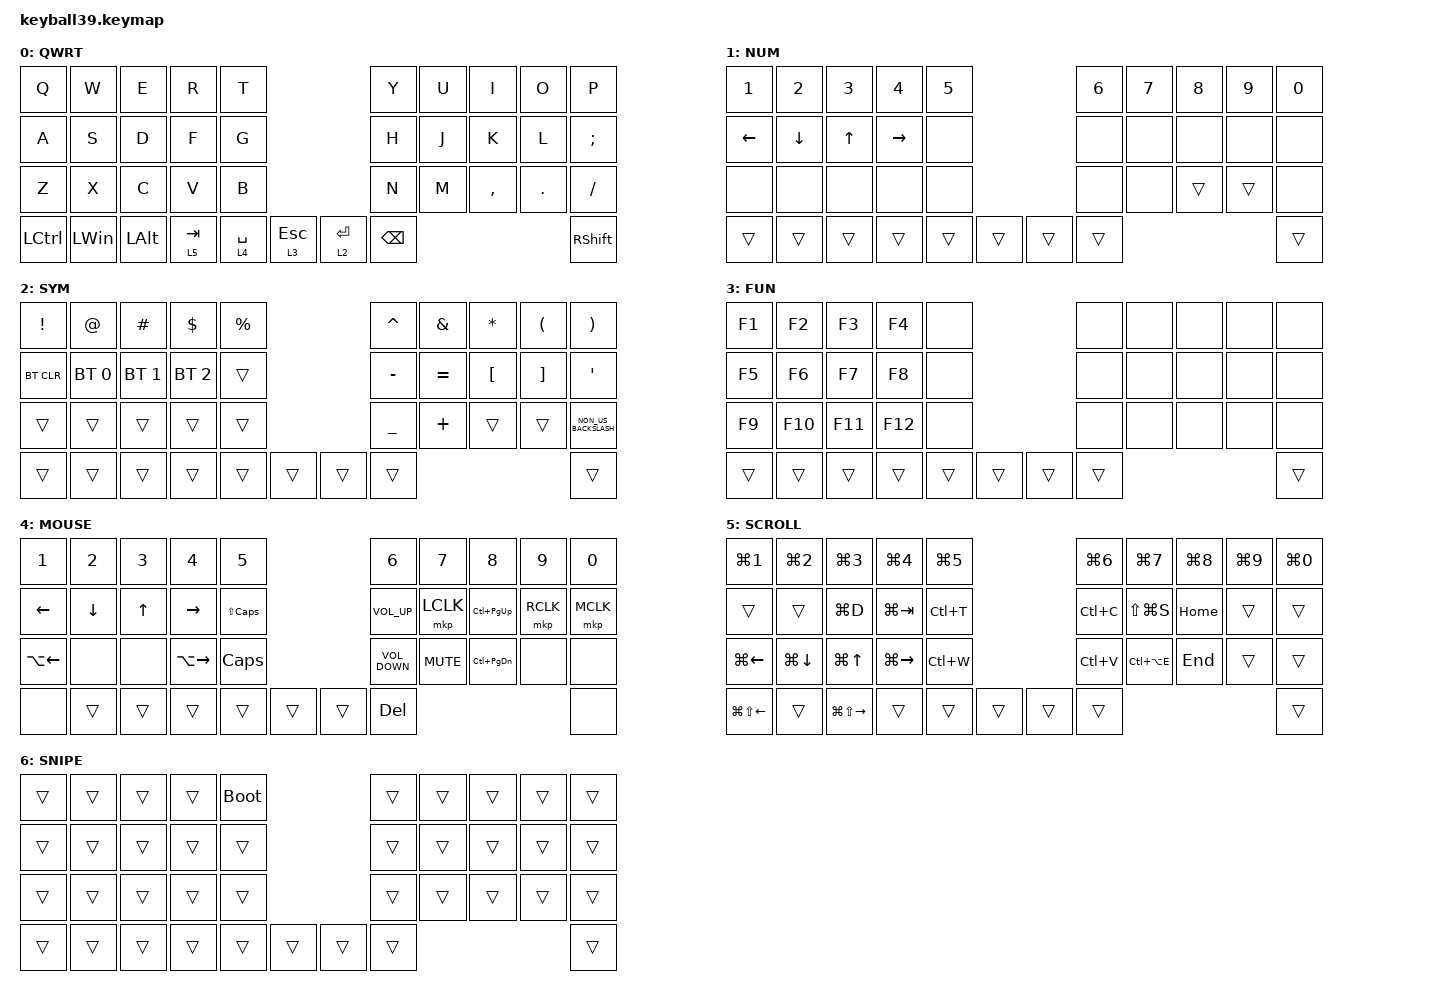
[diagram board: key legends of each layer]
#define DEFAULT 0
#define NUM     1
#define SYM     2
#define FUN     3
#define MOUSE   4
#define SCROLL  5
#define SNIPE   6

#include <behaviors/mouse_keys.dtsi>
#include <dt-bindings/zmk/mouse.h>
#include <behaviors.dtsi>
#include <dt-bindings/zmk/bt.h>
#include <dt-bindings/zmk/keys.h>
#include <dt-bindings/zmk/pointing.h>

&lt {
    tapping-term-ms = <240>;
    flavor = "balanced";
    quick-tap-ms = <150>;
};

&mt {
    tapping-term-ms = <200>;
    flavor = "tap-preferred";
    quick-tap-ms = <150>;
};

&caps_word { continue-list = <UNDERSCORE MINUS>; };

/ {
    // custom shift using mod-morph 

    behaviors {
        cmqus: comma_question {
            compatible = "zmk,behavior-mod-morph";
            label = "COMMA_QUESTION";
            #binding-cells = <0>;
            bindings = <&kp COMMA>, <&kp QUESTION>;

            mods = <(MOD_LSFT|MOD_RSFT)>;
        };

        dtsmi: dot_semi {
            compatible = "zmk,behavior-mod-morph";
            label = "DOT_SEMI";
            #binding-cells = <0>;
            bindings = <&kp DOT>, <&kp SEMI>;

            mods = <(MOD_LSFT|MOD_RSFT)>;
        };
    };

    macros {
        Hiragana: Hiragana {
            compatible = "zmk,behavior-macro";
            #binding-cells = <0>;
            bindings = <&kp LC(SPACE)>;
            label = "HIRAGANA";
        };
    };

    keymap {
        compatible = "zmk,keymap";

        default_layer {
            label = "QWRT";
            bindings = <
&kp Q      &kp W         &kp E     &kp R      &kp T                                   &kp Y          &kp U  &kp I      &kp O    &kp P
&kp A      &kp S         &kp D     &kp F      &kp G                                   &kp H          &kp J  &kp K      &kp L    &kp SEMI
&kp Z      &kp X         &kp C     &kp V      &kp B                                   &kp N          &kp M  &kp COMMA  &kp DOT  &kp SLASH
&kp LCTRL  &kp LEFT_WIN  &kp LALT  &lt 5 TAB  &lt 4 SPACE  &lt 3 ESCAPE  &lt 2 ENTER  &kp BACKSPACE                             &kp RSHFT
            >;
        };

        number_layer {
            label = "NUM";
            bindings = <
&kp NUMBER_1  &kp NUMBER_2  &kp NUMBER_3  &kp NUMBER_4  &kp NUMBER_5                  &kp NUMBER_6  &kp NUMBER_7  &kp NUMBER_8  &kp NUMBER_9  &kp NUMBER_0
&kp LEFT      &kp DOWN      &kp UP_ARROW  &kp RIGHT     &none                         &none         &none         &none         &none         &none
&none         &none         &none         &none         &none                         &none         &none         &trans        &trans        &none
&trans        &trans        &trans        &trans        &trans        &trans  &trans  &trans                                                  &trans
            >;
        };

        symbol_layer {
            label = "SYM";
            bindings = <
&kp EXCLAMATION  &kp AT_SIGN   &kp HASH      &kp DOLLAR    &kp PERCENT                  &kp CARET       &kp AMPERSAND  &kp ASTERISK      &kp LEFT_PARENTHESIS  &kp RIGHT_PARENTHESIS
&bt BT_CLR       &bt BT_SEL 0  &bt BT_SEL 1  &bt BT_SEL 2  &trans                       &kp MINUS       &kp EQUAL      &kp LEFT_BRACKET  &kp RIGHT_BRACKET     &kp SQT
&trans           &trans        &trans        &trans        &trans                       &kp UNDERSCORE  &kp PLUS       &trans            &trans                &kp NON_US_BACKSLASH
&trans           &trans        &trans        &trans        &trans       &trans  &trans  &trans                                                                 &trans
            >;
        };

        function_layer {
            label = "FUN";
            bindings = <
&kp F1  &kp F2   &kp F3   &kp F4   &none                   &none   &none  &none  &none  &none
&kp F5  &kp F6   &kp F7   &kp F8   &none                   &none   &none  &none  &none  &none
&kp F9  &kp F10  &kp F11  &kp F12  &none                   &none   &none  &none  &none  &none
&trans  &trans   &trans   &trans   &trans  &trans  &trans  &trans                       &trans
            >;
        };

        mouse_layer {
            label = "MOUSE";
            bindings = <
&kp N1          &kp N2          &kp N3        &kp N4               &kp N5                        &kp N6             &kp N7      &kp N8             &kp N9     &kp N0
&kp LEFT_ARROW  &kp DOWN_ARROW  &kp UP_ARROW  &kp RIGHT            &kp LS(CAPS)                  &kp C_VOLUME_UP    &mkp LCLK   &kp LC(PAGE_UP)    &mkp RCLK  &mkp MCLK
&kp LA(LEFT)    &none           &none         &kp LA(RIGHT_ARROW)  &kp CAPSLOCK                  &kp C_VOLUME_DOWN  &kp K_MUTE  &kp LC(PAGE_DOWN)  &none      &none
&none           &trans          &trans        &trans               &trans        &trans  &trans  &kp DELETE                                                   &none
            >;
        };

        scroll_layer {
            label = "SCROLL";
            bindings = <
&kp LG(NUMBER_1)  &kp LG(NUMBER_2)  &kp LG(NUMBER_3)   &kp LG(NUMBER_4)  &kp LG(N5)                  &kp LG(NUMBER_6)  &kp LG(N7)     &kp LG(N8)  &kp LG(N9)  &kp LG(N0)
&trans            &trans            &kp LG(D)          &kp LG(TAB)       &kp LC(T)                   &kp LC(C)         &kp LS(LG(S))  &kp HOME    &trans      &trans
&kp LG(LEFT)      &kp LG(DOWN)      &kp LG(UP_ARROW)   &kp LG(RIGHT)     &kp LC(W)                   &kp LC(V)         &kp LC(LA(E))  &kp END     &trans      &trans
&kp LG(LS(LEFT))  &trans            &kp LG(LS(RIGHT))  &trans            &trans      &trans  &trans  &trans                                                   &trans
            >;
        };

        snipe_layer {
            label = "SNIPE";
            bindings = <
&trans  &trans  &trans  &trans  &bootloader                  &trans  &trans  &trans  &trans  &trans
&trans  &trans  &trans  &trans  &trans                       &trans  &trans  &trans  &trans  &trans
&trans  &trans  &trans  &trans  &trans                       &trans  &trans  &trans  &trans  &trans
&trans  &trans  &trans  &trans  &trans       &trans  &trans  &trans                          &trans
            >;
        };
    };
};
